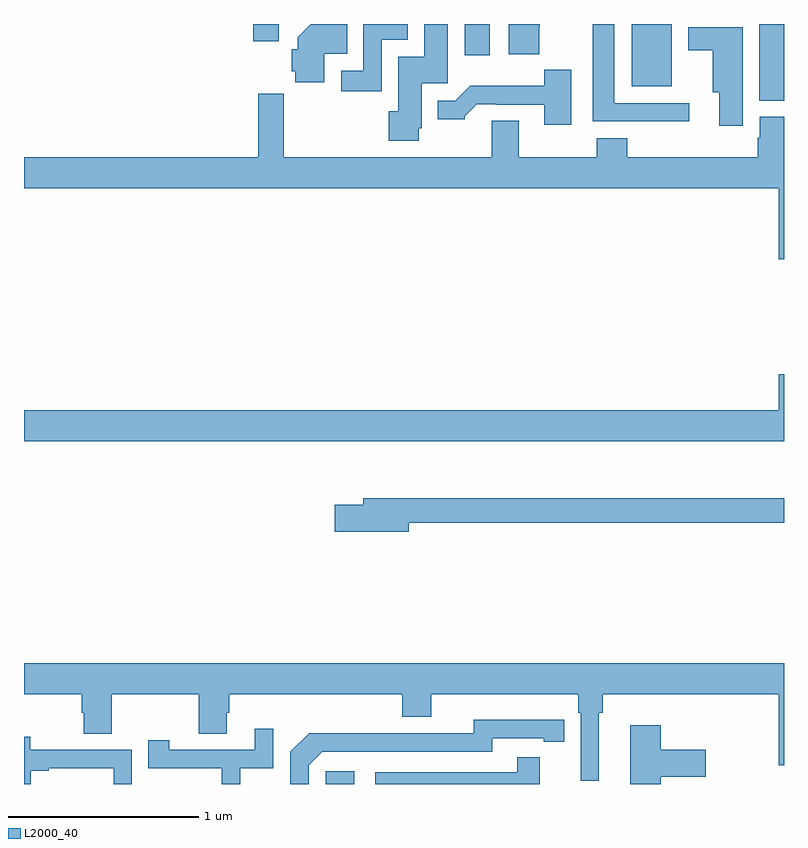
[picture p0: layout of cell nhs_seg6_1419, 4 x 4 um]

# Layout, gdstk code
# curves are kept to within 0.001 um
import gdstk
lib = gdstk.Library(unit=1e-6, precision=1e-09)
def R(c, l, rs):  # rectangles x0, y0, x1, y1
    for r in rs: c.add(gdstk.rectangle(r[:2], r[2:], *l))
def P(c, l, *ps):  # polygons
    for p in ps: c.add(gdstk.Polygon(p, *l))
L2000_40 = (2000, 40)

nhs_seg6_1419 = lib.new_cell('nhs_seg6_1419')
R(nhs_seg6_1419, L2000_40, [(198.588,977.5,198.739,977.566), (200.87,981.097,201,981.5), (200.198,981.173,200.41,981.5), (199.319,981.336,199.45,981.5), (198.206,981.408,198.34,981.5)])
P(nhs_seg6_1419, L2000_40, [(199.712,981.489),(199.714,981.489),(199.714,981.5),(199.55,981.5),(199.55,981.341),(199.712,981.341)],
  [(199.077,980.952),(199.093,980.952),(199.093,981.189),(199.231,981.189),(199.231,981.5),(199.106,981.5),(199.106,981.328),(198.971,981.328),(198.971,981.042),(198.92,981.042),(198.92,980.886),(199.077,980.886)],
  [(200.5,981.084),(200.107,981.084),(200.107,981.5),(199.994,981.5),(199.994,980.987),(200.5,980.987)],
  [(198.882,981.416),(199.021,981.416),(199.021,981.5),(198.786,981.5),(198.786,981.255),(198.669,981.255),(198.669,981.147),(198.882,981.147)],
  [(198.58,981.344),(198.701,981.344),(198.701,981.5),(198.51,981.5),(198.44,981.43),(198.44,981.366),(198.41,981.366),(198.41,981.252),(198.428,981.252),(198.428,981.194),(198.58,981.194)],
  [(200.782,981.484),(200.495,981.484),(200.495,981.362),(200.624,981.362),(200.624,981.14),(200.66,981.14),(200.66,980.964),(200.782,980.964)],
  [(199.879,981.259),(199.737,981.259),(199.737,981.175),(199.348,981.175),(199.269,981.096),(199.178,981.096),(199.178,980.999),(199.32,980.999),(199.32,981.014),(199.384,981.078),(199.483,981.078),(199.483,981.075),(199.739,981.075),(199.739,980.97),(199.879,980.97)],
  [(201,981.012),(200.873,981.012),(200.873,980.901),(200.861,980.901),(200.861,980.8),(200.174,980.8),(200.174,980.899),(200.014,980.899),(200.014,980.8),(199.603,980.8),(199.603,980.99),(199.463,980.99),(199.463,980.8),(198.368,980.8),(198.368,981.133),(198.232,981.133),(198.232,980.8),(197,980.8),(197,980.636),(200.972,980.636),(200.972,980.262),(201,980.262)],
  [(201,979.657),(200.972,979.657),(200.972,979.468),(197,979.468),(197,979.304),(201,979.304)],
  [(199.024,978.874),(201,978.874),(201,979.003),(198.785,979.003),(198.785,978.969),(198.636,978.969),(198.636,978.827),(199.024,978.827)],
  [(200.026,977.876),(200.045,977.876),(200.045,977.972),(200.972,977.972),(200.972,977.598),(201,977.598),(201,978.136),(197,978.136),(197,977.972),(197.303,977.972),(197.303,977.874),(197.315,977.874),(197.315,977.764),(197.463,977.764),(197.463,977.972),(197.92,977.972),(197.92,977.764),(198.067,977.764),(198.067,977.874),(198.08,977.874),(198.08,977.972),(198.992,977.972),(198.992,977.855),(199.144,977.855),(199.144,977.972),(199.916,977.972),(199.916,977.876),(199.929,977.876),(199.929,977.517),(200.026,977.517)],
  [(198.498,977.598),(198.57,977.67),(199.464,977.67),(199.464,977.742),(199.736,977.742),(199.736,977.722),(199.844,977.722),(199.844,977.838),(199.368,977.839),(199.368,977.766),(198.908,977.766),(198.908,977.768),(198.5,977.768),(198.402,977.67),(198.402,977.5),(198.498,977.5)],
  [(200.351,977.537),(200.587,977.537),(200.587,977.679),(200.351,977.679),(200.351,977.809),(200.192,977.809),(200.192,977.5),(200.351,977.5)],
  [(198.138,977.583),(198.312,977.583),(198.312,977.791),(198.215,977.791),(198.215,977.679),(197.764,977.679),(197.764,977.731),(197.653,977.731),(197.653,977.583),(198.042,977.583),(198.042,977.5),(198.138,977.5)],
  [(197.036,977.571),(197.131,977.571),(197.131,977.583),(197.472,977.583),(197.472,977.5),(197.568,977.5),(197.568,977.679),(197.034,977.679),(197.034,977.748),(197,977.748),(197,977.5),(197.036,977.5)],
  [(199.715,977.641),(199.597,977.641),(199.597,977.562),(198.849,977.562),(198.849,977.5),(199.715,977.5)])

lib.write_gds('nhs_seg6_1419.gds')
